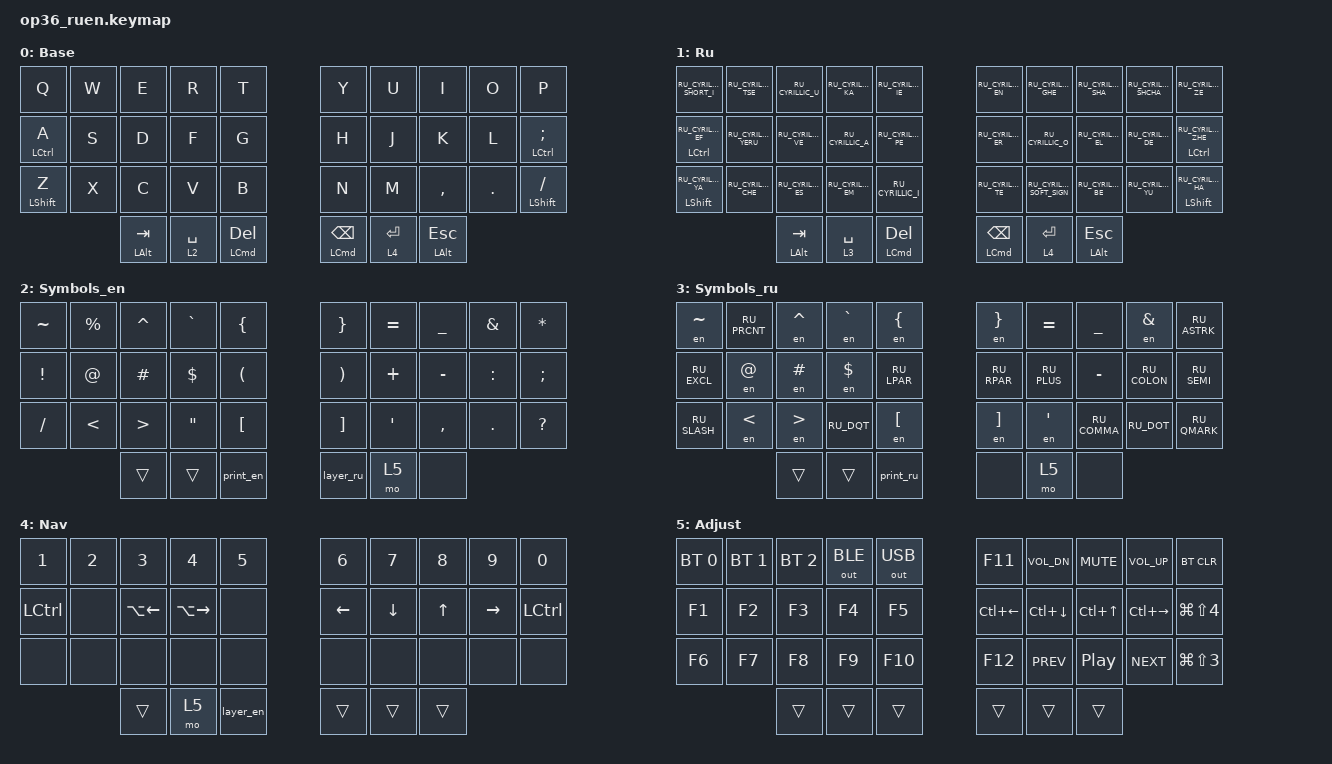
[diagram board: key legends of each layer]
#include "keys_ru.h"
#include "keys_ru.h"
#include <behaviors.dtsi>
#include <dt-bindings/zmk/bt.h>
#include <dt-bindings/zmk/keys.h>
#include <dt-bindings/zmk/outputs.h>

&mt {
    quick-tap-ms = <200>;
    flavor = "tap-preferred";
    require-prior-idle-ms = <125>;
};

/ {
    behaviors {
        hml: home_row_mod_left {
            compatible = "zmk,behavior-hold-tap";
            #binding-cells = <2>;
            flavor = "balanced";
            require-prior-idle-ms = <150>;
            tapping-term-ms = <280>;
            quick-tap-ms = <175>;
            bindings = <&kp>, <&kp>;

            hold-trigger-key-positions = <5 6 7 8 9 15 16 17 18 19 25 26 27 28 29 33 34 35>;
            hold-trigger-on-release;
        };

        hmr: home_row_mod_right {
            compatible = "zmk,behavior-hold-tap";
            #binding-cells = <2>;
            flavor = "balanced";
            require-prior-idle-ms = <150>;
            tapping-term-ms = <280>;
            quick-tap-ms = <175>;
            bindings = <&kp>, <&kp>;

            hold-trigger-key-positions = <0 1 2 3 4 10 11 12 13 14 20 21 22 23 24 30 31 32>;
            hold-trigger-on-release;
        };
    };

    combos {
        compatible = "zmk,combos";

        kha {
            bindings = <&kp RU_CYRILLIC_E>;
            key-positions = <19 18>;
            layers = <1>;
        };

        hrdsgn {
            bindings = <&kp RU_CYRILLIC_HARD_SIGN>;
            key-positions = <8 9>;
            layers = <1>;
        };

        x {
            bindings = <&kp RU_CYRILLIC_HA>;
            key-positions = <29 28>;
            layers = <1>;
        };

        backslash_en {
            bindings = <&kp BACKSLASH>;
            key-positions = <29 28>;
            layers = <2>;
        };

        pipe_en {
            bindings = <&kp PIPE>;
            key-positions = <18 19>;
            layers = <2>;
        };

        backslash_ru {
            bindings = <&kp RU_BACKSLASH>;
            key-positions = <29 28>;
            layers = <3>;
        };

        pipe_ru {
            bindings = <&en PIPE>;
            key-positions = <18 19>;
            layers = <3>;
        };
    };

    macros {
        to_ru: to_ru {
            compatible = "zmk,behavior-macro";
            #binding-cells = <0>;
            bindings = <&kp LG(LS(LC(N2)))>;
            label = "TO_RU";
            wait-ms = <0>;
            tap-ms = <30>;
        };

        to_en: to_en {
            compatible = "zmk,behavior-macro";
            #binding-cells = <0>;
            bindings = <&kp LC(LG(LS(N1)))>;
            label = "TO_EN";
            wait-ms = <0>;
            tap-ms = <30>;
        };

        layer_en: layer_en {
            compatible = "zmk,behavior-macro";
            #binding-cells = <0>;
            bindings = <&to 0 &to_en>;
            label = "LAYER_EN";
            wait-ms = <0>;
            tap-ms = <30>;
        };

        layer_ru: layer_ru {
            compatible = "zmk,behavior-macro";
            #binding-cells = <0>;
            bindings = <&to 1 &to_ru>;
            label = "LAYER_RU";
            tap-ms = <30>;
            wait-ms = <0>;
        };

        en: en {
            compatible = "zmk,behavior-macro-one-param";
            #binding-cells = <1>;
            bindings =
                <&to_en>,
                <&macro_press>,
                <&macro_param_1to1 &kp MACRO_PLACEHOLDER>,
                <&macro_pause_for_release>,
                <&macro_release>,
                <&macro_param_1to1 &kp MACRO_PLACEHOLDER>,
                <&macro_tap>,
                <&to_ru>;

            label = "EN";
            wait-ms = <0>;
            tap-ms = <30>;
        };

        print_en: print_en {
            compatible = "zmk,behavior-macro";
            #binding-cells = <0>;
            bindings = <&none &kp N &kp O &kp W &kp SPACE &kp E &kp N>;
            label = "PRINT_EN";
        };

        print_ru: print_ru {
            compatible = "zmk,behavior-macro";
            #binding-cells = <0>;
            bindings = <&none &kp N &kp O &kp W &kp SPACE &kp R &kp U>;
            label = "PRINT_RU";
        };
    };

    keymap {
        compatible = "zmk,keymap";

        en {
            bindings = <
  &kp Q               &kp W  &kp E  &kp R             &kp T                                                               &kp Y        &kp U             &kp I      &kp O    &kp P
  &mt LEFT_CONTROL A  &kp S  &kp D  &kp F             &kp G                                                               &kp H        &kp J             &kp K      &kp L    &mt LEFT_CONTROL SEMICOLON
  &mt LEFT_SHIFT Z    &kp X  &kp C  &kp V             &kp B                                                               &kp N        &kp M             &kp COMMA  &kp DOT  &mt LEFT_SHIFT SLASH
                                    &mt LEFT_ALT TAB  &lt 2 SPACE  &mt LEFT_COMMAND DELETE    &mt LEFT_COMMAND BACKSPACE  &lt 4 ENTER  &mt LEFT_ALT ESC
            >;

            display-name = "Base";
        };

        ru {
            bindings = <
  &kp RU_CYRILLIC_SHORT_I          &kp RU_CYRILLIC_TSE   &kp RU_CYRILLIC_U   &kp RU_CYRILLIC_KA  &kp RU_CYRILLIC_IE                                                         &kp RU_CYRILLIC_EN  &kp RU_CYRILLIC_GHE        &kp RU_CYRILLIC_SHA  &kp RU_CYRILLIC_SHCHA  &kp RU_CYRILLIC_ZE
  &mt LEFT_CONTROL RU_CYRILLIC_EF  &kp RU_CYRILLIC_YERU  &kp RU_CYRILLIC_VE  &kp RU_CYRILLIC_A   &kp RU_CYRILLIC_PE                                                         &kp RU_CYRILLIC_ER  &kp RU_CYRILLIC_O          &kp RU_CYRILLIC_EL   &kp RU_CYRILLIC_DE     &mt LEFT_CONTROL RU_CYRILLIC_ZHE
  &mt LEFT_SHIFT RU_CYRILLIC_YA    &kp RU_CYRILLIC_CHE   &kp RU_CYRILLIC_ES  &kp RU_CYRILLIC_EM  &kp RU_CYRILLIC_I                                                          &kp RU_CYRILLIC_TE  &kp RU_CYRILLIC_SOFT_SIGN  &kp RU_CYRILLIC_BE   &kp RU_CYRILLIC_YU     &mt LEFT_SHIFT RU_CYRILLIC_HA
                                                                             &mt LEFT_ALT TAB    &lt 3 SPACE         &mt LEFT_COMMAND DELETE    &mt LEFT_COMMAND BACKSPACE  &lt 4 ENTER         &mt LEFT_ALT ESC
            >;

            display-name = "Ru";
        };

        sym_en {
            bindings = <
  &kp TILDE  &kp PRCNT  &kp CARET  &kp GRAVE   &kp LBRC                          &kp RBRC  &kp EQUAL  &kp UNDER  &kp AMPS   &kp STAR
  &kp EXCL   &kp AT     &kp HASH   &kp DOLLAR  &kp LPAR                          &kp RPAR  &kp PLUS   &kp MINUS  &kp COLON  &kp SEMI
  &kp SLASH  &kp LT     &kp GT     &kp DQT     &kp LBKT                          &kp RBKT  &kp SQT    &kp COMMA  &kp DOT    &kp QMARK
                                   &trans      &trans    &print_en    &layer_ru  &mo 5     &none
            >;

            display-name = "Symbols_en";
        };

        sym_ru {
            bindings = <
  &en TILDE     &kp RU_PRCNT  &en CARET  &en GRAVE   &en LBRC                         &en RBRC     &kp EQUAL    &kp UNDER     &en AMPS      &kp RU_ASTRK
  &kp RU_EXCL   &en AT        &en HASH   &en DOLLAR  &kp RU_LPAR                      &kp RU_RPAR  &kp RU_PLUS  &kp MINUS     &kp RU_COLON  &kp RU_SEMI
  &kp RU_SLASH  &en LT        &en GT     &kp RU_DQT  &en LBKT                         &en RBKT     &en SQT      &kp RU_COMMA  &kp RU_DOT    &kp RU_QMARK
                                         &trans      &trans       &print_ru    &none  &mo 5        &none
            >;

            display-name = "Symbols_ru";
        };

        nav {
            bindings = <
  &kp N1            &kp N2  &kp N3        &kp N4         &kp N5                       &kp N6    &kp N7    &kp N8  &kp N9     &kp N0
  &kp LEFT_CONTROL  &none   &kp LA(LEFT)  &kp LA(RIGHT)  &none                        &kp LEFT  &kp DOWN  &kp UP  &kp RIGHT  &kp LEFT_CONTROL
  &none             &none   &none         &none          &none                        &none     &none     &none   &none      &none
                                          &trans         &mo 5   &layer_en    &trans  &trans    &trans
            >;

            display-name = "Nav";
        };

        adj {
            bindings = <
  &bt BT_SEL 0  &bt BT_SEL 1  &bt BT_SEL 2  &out OUT_BLE  &out OUT_USB                    &kp F11             &kp C_VOL_DN        &kp K_MUTE        &kp C_VOLUME_UP  &bt BT_CLR
  &kp F1        &kp F2        &kp F3        &kp F4        &kp F5                          &kp LC(LEFT_ARROW)  &kp LC(DOWN_ARROW)  &kp LC(UP_ARROW)  &kp LC(RIGHT)    &kp LG(LS(NUMBER_4))
  &kp F6        &kp F7        &kp F8        &kp F9        &kp F10                         &kp F12             &kp C_PREV          &kp C_PP          &kp C_NEXT       &kp LG(LS(N3))
                                            &trans        &trans        &trans    &trans  &trans              &trans
            >;

            display-name = "Adjust";
        };
    };
};
